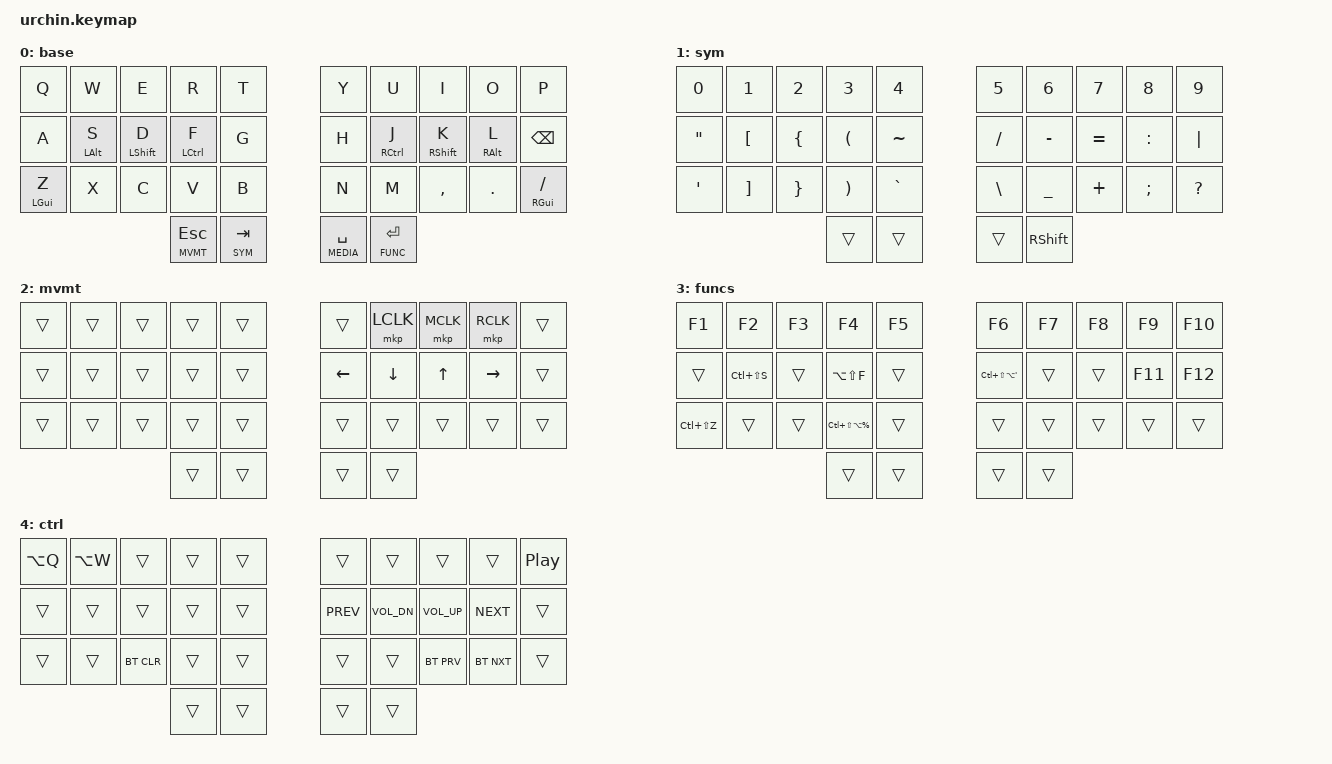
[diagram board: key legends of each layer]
/*
 * Copyright (c) 2020 duckyb
 *
 * SPDX-License-Identifier: MIT
 */

#include <behaviors.dtsi>
#include <dt-bindings/zmk/keys.h>
#include <dt-bindings/zmk/bt.h>
#include <dt-bindings/zmk/outputs.h>
#include <dt-bindings/zmk/mouse.h>

// Layer definitions
#define BASE 0
#define SYM 1
#define MVMT 2
#define FUNC 3
#define MEDIA 4
// -----------------

/ {

    behaviors {
        hm: homerow_mods {
            compatible = "zmk,behavior-hold-tap";
            #binding-cells = <2>;
            tapping-term-ms = <220>;
            quick-tap-ms = <0>;
            flavor = "tap-preferred";
            bindings = <&kp>, <&kp>;
        };
    };

	macros {
	};

	combos {
		compatible = "zmk,combos";
	};

	keymap {
		compatible = "zmk,keymap";
		// Base alpha layer
		default_layer {
			label = "base";
			bindings = <
			&kp Q &kp W &kp E &kp R &kp T                           &kp Y &kp U  &kp I     &kp O   &kp P 
			&kp A &hm LALT S &hm LSHIFT D &hm LCTRL F &kp G         &kp H &hm RCTRL J  &hm RSHIFT K &hm RALT L &kp BACKSPACE
			&hm LGUI Z &kp X &kp C &kp V &kp B                      &kp N &kp M  &kp COMMA &kp DOT &hm RGUI SLASH
			                 &lt MVMT ESC &lt SYM TAB           &lt MEDIA SPACE &lt FUNC RETURN 
			>;
		};

		// Numbers and high frequency symbols
		sym_layer {
			label = "sym";
			bindings = <
			&kp N0 &kp N1 &kp N2 &kp N3 &kp N4                         &kp N5 &kp N6 &kp N7 &kp N8 &kp N9
            &kp DQT &kp LBKT &kp LBRC &kp LPAR &kp TILDE          &kp FSLH &kp MINUS &kp EQUAL &kp COLON &kp PIPE
            &kp SQT &kp RBKT &kp RBRC &kp RPAR &kp GRAVE          &kp BSLH &kp UNDER &kp PLUS &kp SEMI &kp QMARK
                                 &trans &trans          &trans &kp RSHIFT
			>;
		};

		// Movement layer
		mvmt_layer {
			label = "mvmt";
			bindings = <
			&trans &trans &trans &trans &trans          &trans &mkp LCLK &mkp MCLK &mkp RCLK &trans
            &trans &trans &trans &trans &trans          &kp LEFT &kp DOWN &kp UP &kp RIGHT &trans
            &trans &trans &trans &trans &trans          &trans &trans &trans &trans &trans
                                 &trans &trans          &trans &trans
			>;
		};

		// Function keys for wez, vim etc
		fnc_layer {
			label = "funcs";
			bindings = <
			&kp F1 &kp F2 &kp F3 &kp F4 &kp F5          &kp F6 &kp F7 &kp F8 &kp F9 &kp F10
            &trans &kp LC(LS(S)) &trans &kp LA(LS(F)) &trans         &kp LC(LS(LA(SQT))) &trans &trans &kp F11 &kp F12
            &kp LC(LS(Z)) &trans &trans &kp LC(LS(LA(PERCENT))) &trans          &trans &trans &trans &trans &trans
                                 &trans &trans          &trans &trans
			>;
		};

		// Control layer (media/bt) 
		ctrl_layer {
			label = "ctrl";
			bindings = <
			&kp LA(Q) &kp LA(W) &trans &trans &trans          &trans &trans &trans &trans &kp C_PP
            &trans &trans &trans &trans &trans          &kp C_PREV &kp C_VOL_DN &kp C_VOL_UP &kp C_NEXT &trans
            &trans &trans &bt BT_CLR &trans &trans          &trans &trans &bt BT_PRV &bt BT_NXT &trans
                                 &trans &trans          &trans &trans
			>;
		};
	};
};
